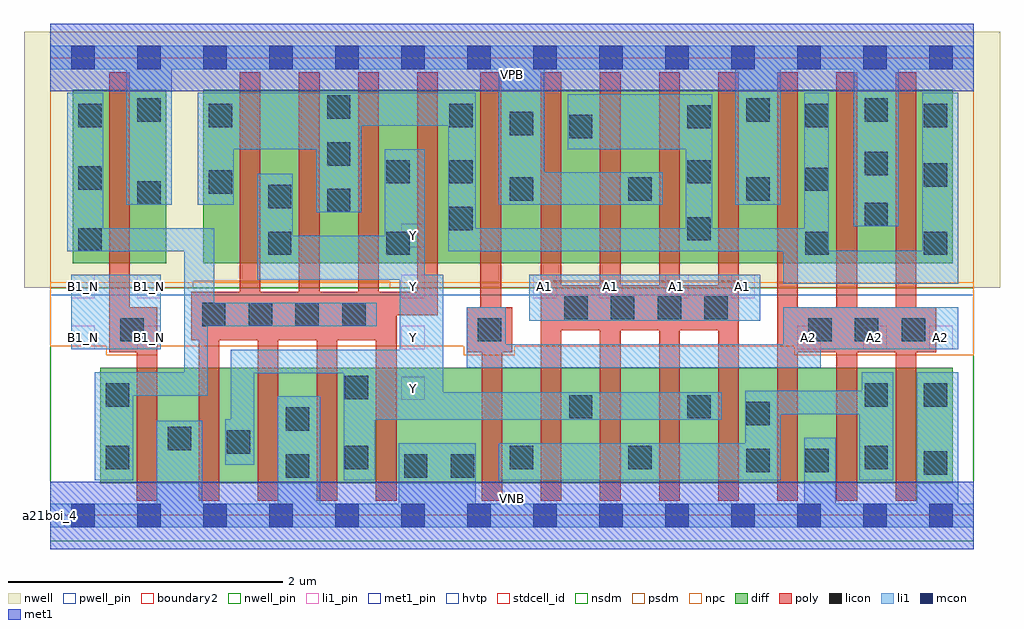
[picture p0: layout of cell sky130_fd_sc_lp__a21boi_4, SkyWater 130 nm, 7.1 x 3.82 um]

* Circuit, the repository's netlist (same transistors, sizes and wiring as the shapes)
* Copyright 2020 The SkyWater PDK Authors
*
* Licensed under the Apache License, Version 2.0 (the "License");
* you may not use this file except in compliance with the License.
* You may obtain a copy of the License at
*
*     https://www.apache.org/licenses/LICENSE-2.0
*
* Unless required by applicable law or agreed to in writing, software
* distributed under the License is distributed on an "AS IS" BASIS,
* WITHOUT WARRANTIES OR CONDITIONS OF ANY KIND, either express or implied.
* See the License for the specific language governing permissions and
* limitations under the License.
*
* SPDX-License-Identifier: Apache-2.0

.SUBCKT sky130_fd_sc_lp__a21boi_4 A1 A2 B1_N VGND VNB VPB VPWR Y
*.PININFO A1:I A2:I B1_N:I VGND:I VNB:I VPB:I VPWR:I Y:O
MMPA0 net28 A1 VPWR VPB sky130_fd_pr__pfet_01v8_hvt m=4 w=1.26U l=0.15U mult=1
+ sa=0.265 sb=0.265 sd=0.28 area=0.063 perim=1.14
MMPA1 net28 A2 VPWR VPB sky130_fd_pr__pfet_01v8_hvt m=4 w=1.26U l=0.15U mult=1
+ sa=0.265 sb=0.265 sd=0.28 area=0.063 perim=1.14
MMPB0 Y B1 net28 VPB sky130_fd_pr__pfet_01v8_hvt m=4 w=1.26U l=0.15U mult=1 sa=0.265
+ sb=0.265 sd=0.28 area=0.063 perim=1.14
MMIPB1N B1 B1_N VPWR VPB sky130_fd_pr__pfet_01v8_hvt m=1 w=1.26U l=0.15U mult=1
+ sa=0.265 sb=0.265 sd=0.28 area=0.063 perim=1.14
MMNA0 Y A1 sndA1 VNB sky130_fd_pr__nfet_01v8 m=4 w=0.84U l=0.15U mult=1 sa=0.265
+ sb=0.265 sd=0.28 area=0.063 perim=1.14
MMNA1 sndA1 A2 VGND VNB sky130_fd_pr__nfet_01v8 m=4 w=0.84U l=0.15U mult=1 sa=0.265
+ sb=0.265 sd=0.28 area=0.063 perim=1.14
MMNB0 Y B1 VGND VNB sky130_fd_pr__nfet_01v8 m=4 w=0.84U l=0.15U mult=1 sa=0.265
+ sb=0.265 sd=0.28 area=0.063 perim=1.14
MMINB1N B1 B1_N VGND VNB sky130_fd_pr__nfet_01v8 m=1 w=0.84U l=0.15U mult=1 sa=0.265
+ sb=0.265 sd=0.28 area=0.063 perim=1.14
.ENDS sky130_fd_sc_lp__a21boi_4

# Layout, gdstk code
import gdstk
lib = gdstk.Library(unit=1e-6, precision=1e-09)
def R(c, l, rs):  # rectangles x0, y0, x1, y1
    for r in rs: c.add(gdstk.rectangle(r[:2], r[2:], *l))
def A(c, l, x, y, w, h, nx, ny, dx, dy):  # array of equal rectangles
    R(c, l, [(x+i*dx, y+j*dy, x+i*dx+w, y+j*dy+h) for i in range(nx) for j in range(ny)])
def P(c, l, *ps):  # polygons
    for p in ps: c.add(gdstk.Polygon(p, *l))
nwell_pin = (64, 16)
nwell = (64, 20)
diff = (65, 20)
poly = (66, 20)
licon = (66, 44)
li1_pin = (67, 16)
li1 = (67, 20)
mcon = (67, 44)
met1_pin = (68, 16)
met1 = (68, 20)
hvtp = (78, 44)
stdcell_id = (81, 4)
nsdm = (93, 44)
psdm = (94, 20)
npc = (95, 20)
pwell_pin = (122, 16)
boundary2 = (236, 0)

sky130_fd_sc_lp__a21boi_ = lib.new_cell('sky130_fd_sc_lp__a21boi_4')
R(sky130_fd_sc_lp__a21boi_, nwell_pin, [(0,3.085,6.72,3.33)])
R(sky130_fd_sc_lp__a21boi_, nwell, [(-0.19,1.655,6.91,3.52)])
R(sky130_fd_sc_lp__a21boi_, diff, [(0.365,0.235,6.565,1.075), (0.165,1.835,0.845,3.095), (1.115,1.835,6.565,3.095)])
P(sky130_fd_sc_lp__a21boi_, poly, [(0.78,1.515),(0.58,1.515),(0.58,3.225),(0.43,3.225),(0.43,1.185),(0.63,1.185),(0.63,0.105),(0.78,0.105)],
  [(2.82,3.225),(2.67,3.225),(2.67,1.625),(2.39,1.625),(2.39,3.225),(2.24,3.225),(2.24,1.625),(1.96,1.625),(1.96,3.225),(1.81,3.225),(1.81,1.625),(1.53,1.625),(1.53,3.225),(1.38,3.225),(1.38,1.625),(1.025,1.625),(1.025,1.275),(1.08,1.275),(1.08,0.105),(1.23,0.105),(1.23,1.275),(1.51,1.275),(1.51,0.105),(1.66,0.105),(1.66,1.275),(1.94,1.275),(1.94,0.105),(2.09,0.105),(2.09,1.275),(2.37,1.275),(2.37,0.105),(2.52,0.105),(2.52,1.455),(2.82,1.455)],
  [(3.36,1.515),(3.28,1.515),(3.28,3.225),(3.13,3.225),(3.13,1.515),(3.03,1.515),(3.03,1.185),(3.14,1.185),(3.14,0.105),(3.29,0.105),(3.29,1.185),(3.36,1.185)],
  [(5.01,3.225),(4.86,3.225),(4.86,1.675),(4.58,1.675),(4.58,3.225),(4.43,3.225),(4.43,1.675),(4.15,1.675),(4.15,3.225),(4,3.225),(4,1.675),(3.72,1.675),(3.72,3.225),(3.57,3.225),(3.57,0.105),(3.72,0.105),(3.72,1.345),(4,1.345),(4,0.105),(4.15,0.105),(4.15,1.345),(4.43,1.345),(4.43,0.105),(4.58,0.105),(4.58,1.345),(4.86,1.345),(4.86,0.105),(5.01,0.105)],
  [(6.445,1.515),(6.3,1.515),(6.3,3.225),(6.15,3.225),(6.15,1.515),(5.87,1.515),(5.87,3.225),(5.72,3.225),(5.72,1.515),(5.44,1.515),(5.44,3.225),(5.29,3.225),(5.29,0.105),(5.44,0.105),(5.44,1.185),(5.72,1.185),(5.72,0.105),(5.87,0.105),(5.87,1.185),(6.15,1.185),(6.15,0.105),(6.3,0.105),(6.3,1.185),(6.445,1.185)])
A(sky130_fd_sc_lp__a21boi_, licon, 5.515, 1.265, 0.17, 0.17, 3, 1, 0.34, 0)
A(sky130_fd_sc_lp__a21boi_, licon, 1.105, 1.375, 0.17, 0.17, 4, 1, 0.34, 0)
A(sky130_fd_sc_lp__a21boi_, licon, 3.74, 1.425, 0.17, 0.17, 4, 1, 0.34, 0)
A(sky130_fd_sc_lp__a21boi_, licon, 5.495, 1.895, 0.17, 0.17, 1, 3, 0, 0.465)
A(sky130_fd_sc_lp__a21boi_, licon, 2.015, 2.205, 0.17, 0.17, 1, 3, 0, 0.34)
A(sky130_fd_sc_lp__a21boi_, licon, 3.345, 2.29, 0.17, 0.17, 3, 1, 0.86, 0)
R(sky130_fd_sc_lp__a21boi_, licon, [(1.715,0.275,1.885,0.445), (2.575,0.275,2.745,0.445), (2.915,0.275,3.085,0.445), (6.355,0.295,6.525,0.465), (5.065,0.315,5.235,0.485), (5.495,0.315,5.665,0.485), (0.405,0.335,0.575,0.505), (2.145,0.335,2.315,0.505), (3.345,0.335,3.515,0.505), (4.205,0.335,4.375,0.505), (5.925,0.335,6.095,0.505), (1.285,0.45,1.455,0.62), (0.855,0.475,1.025,0.645), (1.715,0.615,1.885,0.785), (5.065,0.655,5.235,0.825), (3.775,0.705,3.945,0.875), (4.635,0.705,4.805,0.875), (0.405,0.79,0.575,0.96), (5.925,0.79,6.095,0.96), (6.355,0.79,6.525,0.96), (2.145,0.845,2.315,1.015), (0.51,1.265,0.68,1.435), (3.11,1.265,3.28,1.435), (1.585,1.895,1.755,2.065), (2.445,1.895,2.615,2.065), (6.355,1.895,6.525,2.065), (0.205,1.92,0.375,2.09), (4.635,2,4.805,2.17), (2.905,2.075,3.075,2.245), (5.925,2.105,6.095,2.275), (1.585,2.235,1.755,2.405), (0.635,2.26,0.805,2.43), (1.155,2.34,1.325,2.51), (0.205,2.37,0.375,2.54), (6.355,2.39,6.525,2.56), (2.445,2.415,2.615,2.585), (2.905,2.415,3.075,2.585), (4.635,2.415,4.805,2.585), (5.925,2.475,6.095,2.645), (3.775,2.745,3.945,2.915), (3.345,2.765,3.515,2.935), (4.635,2.815,4.805,2.985), (0.205,2.825,0.375,2.995), (1.155,2.825,1.325,2.995), (2.905,2.825,3.075,2.995), (6.355,2.825,6.525,2.995), (0.635,2.865,0.805,3.035), (5.065,2.865,5.235,3.035), (5.925,2.865,6.095,3.035)])
A(sky130_fd_sc_lp__a21boi_, li1_pin, 2.555, 0.84, 0.17, 0.17, 1, 4, 0, 0.37)
A(sky130_fd_sc_lp__a21boi_, li1_pin, 5.435, 1.21, 0.17, 0.17, 3, 1, 0.48, 0)
A(sky130_fd_sc_lp__a21boi_, li1_pin, 3.515, 1.58, 0.17, 0.17, 4, 1, 0.48, 0)
R(sky130_fd_sc_lp__a21boi_, li1_pin, [(0.155,1.21,0.325,1.38), (0.635,1.21,0.805,1.38), (0.155,1.58,0.325,1.75), (0.635,1.58,0.805,1.75)])
R(sky130_fd_sc_lp__a21boi_, li1, [(0.155,1.21,0.805,1.75), (3.485,1.415,5.165,1.75)])
P(sky130_fd_sc_lp__a21boi_, li1, [(3.265,2.26),(3.265,3.245),(0.885,3.245),(0.885,2.26),(0.555,2.26),(0.555,3.245),(0,3.245),(0,3.415),(6.72,3.415),(6.72,3.245),(6.175,3.245),(6.175,2.105),(5.845,2.105),(5.845,3.245),(5.315,3.245),(5.315,2.26),(4.985,2.26),(4.985,3.245),(3.595,3.245),(3.595,2.495),(4.455,2.495),(4.455,2.26)],
  [(2.535,0.085),(2.535,0.525),(3.095,0.525),(3.095,0.085),(5.485,0.085),(5.485,0.565),(5.715,0.565),(5.715,0.085),(6.305,0.085),(6.305,1.04),(6.605,1.04),(6.605,0.085),(6.72,0.085),(6.72,-0.085),(0,-0.085),(0,0.085),(0.775,0.085),(0.775,0.69),(1.105,0.69),(1.105,0.085),(1.655,0.085),(1.655,0.865),(1.965,0.865),(1.965,0.085)],
  [(5.335,1.245),(5.335,1.515),(6.605,1.515),(6.605,1.21),(5.605,1.21),(5.605,1.075),(3.03,1.075),(3.03,1.515),(3.315,1.515),(3.315,1.245)],
  [(6.605,3.075),(6.345,3.075),(6.345,1.925),(5.665,1.925),(5.665,3.075),(5.485,3.075),(5.485,2.09),(4.815,2.09),(4.815,3.065),(3.765,3.065),(3.765,2.665),(4.625,2.665),(4.625,2.09),(3.095,2.09),(3.095,3.075),(1.075,3.075),(1.075,2.26),(1.335,2.26),(1.335,2.665),(1.935,2.665),(1.935,2.205),(2.265,2.205),(2.265,2.835),(2.895,2.835),(2.895,1.92),(5.335,1.92),(5.335,1.685),(6.605,1.685)],
  [(4.885,0.895),(2.86,0.895),(2.86,1.75),(2.725,1.75),(2.725,2.665),(2.435,2.665),(2.435,2.035),(1.765,2.035),(1.765,2.485),(1.505,2.485),(1.505,1.715),(2.545,1.715),(2.545,1.205),(1.315,1.205),(1.315,0.7),(1.275,0.7),(1.275,0.37),(1.485,0.37),(1.485,1.035),(2.135,1.035),(2.135,0.255),(2.365,0.255),(2.365,0.695),(4.885,0.695)],
  [(0.385,2.09),(1.195,2.09),(1.195,1.545),(2.375,1.545),(2.375,1.375),(1.145,1.375),(1.145,0.87),(0.605,0.87),(0.605,0.255),(0.325,0.255),(0.325,1.04),(0.975,1.04),(0.975,1.92),(0.125,1.92),(0.125,3.075),(0.385,3.075)],
  [(5.885,0.735),(5.315,0.735),(5.315,0.255),(3.265,0.255),(3.265,0.525),(5.055,0.525),(5.055,0.905),(5.905,0.905),(5.905,1.04),(6.135,1.04),(6.135,0.255),(5.885,0.255)])
A(sky130_fd_sc_lp__a21boi_, mcon, 0.155, -0.085, 0.17, 0.17, 14, 2, 0.48, 3.33)
R(sky130_fd_sc_lp__a21boi_, met1_pin, [(0,0,6.72,0.245), (0,3.085,6.72,3.33)])
R(sky130_fd_sc_lp__a21boi_, met1, [(0,-0.245,6.72,0.245), (0,3.085,6.72,3.575)])
R(sky130_fd_sc_lp__a21boi_, hvtp, [(0,1.6,6.72,3.33)])
R(sky130_fd_sc_lp__a21boi_, stdcell_id, [(0,0,6.72,3.33)])
R(sky130_fd_sc_lp__a21boi_, nsdm, [(0,-0.19,6.72,1.655)])
P(sky130_fd_sc_lp__a21boi_, psdm, [(6.72,3.52),(0,3.52),(0,1.655),(1.04,1.655),(1.04,1.705),(2.47,1.705),(2.47,1.655),(3.63,1.655),(3.63,1.705),(5.04,1.705),(5.04,1.655),(6.72,1.655)])
P(sky130_fd_sc_lp__a21boi_, npc, [(6.72,1.695),(0,1.695),(0,1.23),(0.41,1.23),(0.41,1.165),(0.78,1.165),(0.78,1.23),(3.01,1.23),(3.01,1.165),(3.38,1.165),(3.38,1.23),(5.415,1.23),(5.415,1.165),(6.72,1.165)])
R(sky130_fd_sc_lp__a21boi_, pwell_pin, [(0,0,6.72,0.245)])
R(sky130_fd_sc_lp__a21boi_, boundary2, [(0,0,6.72,3.33)])
sky130_fd_sc_lp__a21boi_.add(gdstk.Label('VNB', (3.36,0.123), layer=64, texttype=59))
sky130_fd_sc_lp__a21boi_.add(gdstk.Label('VPB', (3.36,3.208), layer=64, texttype=5))
sky130_fd_sc_lp__a21boi_.add(gdstk.Label('a21boi_4', (0,0), layer=83, texttype=44))
sky130_fd_sc_lp__a21boi_.add(gdstk.Label('VPWR', (3.36,3.208), layer=68, texttype=5))
sky130_fd_sc_lp__a21boi_.add(gdstk.Label('VGND', (3.36,0.123), layer=68, texttype=5))
sky130_fd_sc_lp__a21boi_.add(gdstk.Label('A2', (5.52,1.295), layer=67, texttype=5))
sky130_fd_sc_lp__a21boi_.add(gdstk.Label('A2', (6,1.295), layer=67, texttype=5))
sky130_fd_sc_lp__a21boi_.add(gdstk.Label('A2', (6.48,1.295), layer=67, texttype=5))
sky130_fd_sc_lp__a21boi_.add(gdstk.Label('B1_N', (0.24,1.295), layer=67, texttype=5))
sky130_fd_sc_lp__a21boi_.add(gdstk.Label('B1_N', (0.24,1.665), layer=67, texttype=5))
sky130_fd_sc_lp__a21boi_.add(gdstk.Label('B1_N', (0.72,1.295), layer=67, texttype=5))
sky130_fd_sc_lp__a21boi_.add(gdstk.Label('B1_N', (0.72,1.665), layer=67, texttype=5))
sky130_fd_sc_lp__a21boi_.add(gdstk.Label('A1', (3.6,1.665), layer=67, texttype=5))
sky130_fd_sc_lp__a21boi_.add(gdstk.Label('A1', (4.08,1.665), layer=67, texttype=5))
sky130_fd_sc_lp__a21boi_.add(gdstk.Label('A1', (4.56,1.665), layer=67, texttype=5))
sky130_fd_sc_lp__a21boi_.add(gdstk.Label('A1', (5.04,1.665), layer=67, texttype=5))
sky130_fd_sc_lp__a21boi_.add(gdstk.Label('Y', (2.64,0.925), layer=67, texttype=5))
sky130_fd_sc_lp__a21boi_.add(gdstk.Label('Y', (2.64,1.295), layer=67, texttype=5))
sky130_fd_sc_lp__a21boi_.add(gdstk.Label('Y', (2.64,1.665), layer=67, texttype=5))
sky130_fd_sc_lp__a21boi_.add(gdstk.Label('Y', (2.64,2.035), layer=67, texttype=5))

lib.write_gds('sky130_fd_sc_lp__a21boi_4.gds')
